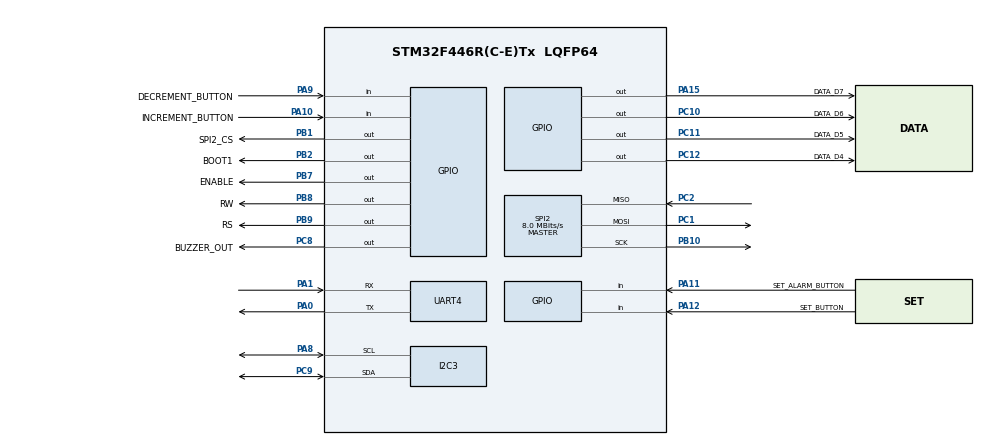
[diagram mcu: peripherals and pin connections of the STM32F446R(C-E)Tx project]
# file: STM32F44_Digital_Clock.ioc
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Mcu.Family=STM32F4
Mcu.Name=STM32F446R(C-E)Tx
Mcu.Package=LQFP64
NVIC.PriorityGroup=NVIC_PRIORITYGROUP_4
NVIC.RTC_Alarm_IRQn=true\:14\:0\:true\:false\:true\:true\:true\:true
NVIC.TIM6_DAC_IRQn=true\:15\:0\:false\:false\:true\:false\:true\:true
NVIC.TimeBase=TIM6_DAC_IRQn
NVIC.TimeBaseIP=TIM6
PA0-WKUP.Mode=Asynchronous
PA0-WKUP.Signal=UART4_TX
PA1.Mode=Asynchronous
PA1.Signal=UART4_RX
PA10.GPIO_Label=INCREMENT_BUTTON
PA10.Signal=GPIO_Input
PA11.GPIO_Label=SET_ALARM_BUTTON
PA11.Signal=GPIO_Input
PA12.GPIO_Label=SET_BUTTON
PA12.Signal=GPIO_Input
PA13.Signal=SYS_JTMS-SWDIO
PA14.Signal=SYS_JTCK-SWCLK
PA15.GPIO_Label=DATA_D7
PA15.Signal=GPIO_Output
PA8.Mode=I2C
PA8.Signal=I2C3_SCL
PA9.GPIO_Label=DECREMENT_BUTTON
PA9.Signal=GPIO_Input
PB1.GPIO_Label=SPI2_CS
PB1.Signal=GPIO_Output
PB10.Mode=Full_Duplex_Master
PB10.Signal=SPI2_SCK
PB2.GPIO_Label=BOOT1
PB2.Signal=GPIO_Output
PB3.Signal=SYS_JTDO-SWO
PB7.GPIO_Label=ENABLE
PB7.Signal=GPIO_Output
PB8.GPIO_Label=RW
PB8.Signal=GPIO_Output
PB9.GPIO_Label=RS
PB9.Signal=GPIO_Output
PC1.Mode=Full_Duplex_Master
PC1.Signal=SPI2_MOSI
PC10.GPIO_Label=DATA_D6
PC10.Signal=GPIO_Output
PC11.GPIO_Label=DATA_D5
PC11.Signal=GPIO_Output
PC12.GPIO_Label=DATA_D4
PC12.Signal=GPIO_Output
PC14-OSC32_IN.Mode=LSE-External-Oscillator
PC14-OSC32_IN.Signal=RCC_OSC32_IN
PC15-OSC32_OUT.Mode=LSE-External-Oscillator
PC15-OSC32_OUT.Signal=RCC_OSC32_OUT
PC2.Mode=Full_Duplex_Master
PC2.Signal=SPI2_MISO
PC8.GPIO_Label=BUZZER_OUT
PC8.Signal=GPIO_Output
PC9.Mode=I2C
PC9.Signal=I2C3_SDA
ProjectManager.HeapSize=0x200
ProjectManager.StackSize=0x400
ProjectManager.TargetToolchain=STM32CubeIDE
RCC.CortexFreq_Value=16000000
RCC.RCC_RTC_Clock_SourceVirtual=RCC_RTCCLKSOURCE_LSE
RCC.USBFreq_Value=96000000
RCC.VCOOutputFreq_Value=192000000
RTC.Alarm=RTC_ALARM_A
RTC.AlarmDateWeekDaySel=RTC_ALARMDATEWEEKDAYSEL_WEEKDAY
RTC.HourFormat=RTC_HOURFORMAT_12
RTC.Minutes=0
RTC.Year=20
SPI2.CalculateBaudRate=8.0 MBits/s
SPI2.Direction=SPI_DIRECTION_2LINES
SPI2.Mode=SPI_MODE_MASTER
SPI2.VirtualType=VM_MASTER
TIM5.Prescaler=16-1
UART4.VirtualMode=Asynchronous
VP_RTC_VS_RTC_Activate.Mode=RTC_Enabled
VP_RTC_VS_RTC_Alarm_A_Intern.Mode=Alarm A
VP_RTC_VS_RTC_Calendar.Mode=RTC_Calendar
VP_SYS_VS_tim6.Mode=TIM6
VP_TIM5_VS_ClockSourceINT.Mode=Internal
board=custom

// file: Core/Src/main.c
/* USER CODE BEGIN Header */
/**
  ******************************************************************************
  * @file           : main.c
  * @brief          : Main program body
  ******************************************************************************
  * @attention
  *
  * <h2><center>&copy; Copyright (c) 2020 STMicroelectronics.
  * All rights reserved.</center></h2>
  *
  * This software component is licensed by ST under BSD 3-Clause license,
  * the "License"; You may not use this file except in compliance with the
  * License. You may obtain a copy of the License at:
  *                        opensource.org/licenses/BSD-3-Clause
  *
  ******************************************************************************
  */
/* USER CODE END Header */
#include "main.h"

/* USER CODE BEGIN Includes */
//#include "Digital_Clock.h"
//#include "RTC.h"
#include "BSP_STM32F44E.h"
#include "../appl/RTC/RTC.h"
#include "../appl/LCD/LCD16.h"
#include "../appl/DIGITALINPUT/DIGITALINPUT.h"
#include "../appl/APPINTF/APPINTF.h"
#include "../appl/CLOCK_MODELE/CLOCK_MODULE.h"

#include "FreeRTOS.h"
#include "task.h"
#include "queue.h"

#include "SchM_DigitalClock.h"

/* USER CODE END Includes */

I2C_HandleTypeDef hi2c3;

//RTC_HandleTypeDef hrtc;

SPI_HandleTypeDef hspi2;

TIM_HandleTypeDef htim5;

UART_HandleTypeDef huart4;

/* USER CODE BEGIN PV */

extern RTC_HandleTypeDef hrtc;
/* USER CODE END PV */

void SystemClock_Config(void);
static void MX_GPIO_Init(void);
static void MX_RTC_Init(void);
static void MX_TIM5_Init(void);
static void MX_UART4_Init(void);
static void MX_I2C3_Init(void);
static void MX_SPI2_Init(void);

int main(void)
{

  /* MCU Configuration--------------------------------------------------------*/

  /* Reset of all peripherals, Initializes the Flash interface and the Systick. */
  HAL_Init();

  /* Configure the system clock */
  SystemClock_Config();

  /* Initialize all configured peripherals */
  MX_GPIO_Init();
  MX_RTC_Init();
  MX_TIM5_Init();
  MX_UART4_Init();
  MX_I2C3_Init();
  MX_SPI2_Init();
  /* USER CODE BEGIN 2 */
  HAL_TIM_Base_Start(&htim5);

  LCD_Config();

  Init_digital_input();
  APPIFEF_Init();
  FSMEF_Clock_Init();

//  SEGGER_SYSVIEW_Conf();

  Task_Generation();
  vTaskStartScheduler();

  /* USER CODE END 2 */

  /* Infinite loop */
  while (1)
  {

  }
}

void SystemClock_Config(void)
{
  RCC_OscInitTypeDef RCC_OscInitStruct = {0};
  RCC_ClkInitTypeDef RCC_ClkInitStruct = {0};

  /** Configure the main internal regulator output voltage
  */
  __HAL_RCC_PWR_CLK_ENABLE();
  __HAL_PWR_VOLTAGESCALING_CONFIG(PWR_REGULATOR_VOLTAGE_SCALE3);

  /** Initializes the RCC Oscillators according to the specified parameters
  * in the RCC_OscInitTypeDef structure.
  */
  RCC_OscInitStruct.OscillatorType = RCC_OSCILLATORTYPE_HSI|RCC_OSCILLATORTYPE_LSE;
  RCC_OscInitStruct.LSEState = RCC_LSE_ON;
  RCC_OscInitStruct.HSIState = RCC_HSI_ON;
  RCC_OscInitStruct.HSICalibrationValue = RCC_HSICALIBRATION_DEFAULT;
  RCC_OscInitStruct.PLL.PLLState = RCC_PLL_NONE;
  if (HAL_RCC_OscConfig(&RCC_OscInitStruct) != HAL_OK)
  {
    Error_Handler();
  }

  /** Initializes the CPU, AHB and APB buses clocks
  */
  RCC_ClkInitStruct.ClockType = RCC_CLOCKTYPE_HCLK|RCC_CLOCKTYPE_SYSCLK
                              |RCC_CLOCKTYPE_PCLK1|RCC_CLOCKTYPE_PCLK2;
  RCC_ClkInitStruct.SYSCLKSource = RCC_SYSCLKSOURCE_HSI;
  RCC_ClkInitStruct.AHBCLKDivider = RCC_SYSCLK_DIV1;
  RCC_ClkInitStruct.APB1CLKDivider = RCC_HCLK_DIV1;
  RCC_ClkInitStruct.APB2CLKDivider = RCC_HCLK_DIV1;

  if (HAL_RCC_ClockConfig(&RCC_ClkInitStruct, FLASH_LATENCY_0) != HAL_OK)
  {
    Error_Handler();
  }
}

static void MX_I2C3_Init(void)
{

  hi2c3.Instance = I2C3;
  hi2c3.Init.ClockSpeed = 100000;
  hi2c3.Init.DutyCycle = I2C_DUTYCYCLE_2;
  hi2c3.Init.OwnAddress1 = 0;
  hi2c3.Init.AddressingMode = I2C_ADDRESSINGMODE_7BIT;
  hi2c3.Init.DualAddressMode = I2C_DUALADDRESS_DISABLE;
  hi2c3.Init.OwnAddress2 = 0;
  hi2c3.Init.GeneralCallMode = I2C_GENERALCALL_DISABLE;
  hi2c3.Init.NoStretchMode = I2C_NOSTRETCH_DISABLE;
  if (HAL_I2C_Init(&hi2c3) != HAL_OK)
  {
    Error_Handler();
  }

}

static void MX_RTC_Init(void)
{

  RTC_TimeTypeDef sTime = {0};
  RTC_DateTypeDef sDate = {0};
  RTC_AlarmTypeDef sAlarm = {0};

  /** Initialize RTC Only
  */
  hrtc.Instance = RTC;
  hrtc.Init.HourFormat = RTC_HOURFORMAT_12;
  hrtc.Init.AsynchPrediv = 127;
  hrtc.Init.SynchPrediv = 255;
  hrtc.Init.OutPut = RTC_OUTPUT_DISABLE;
  hrtc.Init.OutPutPolarity = RTC_OUTPUT_POLARITY_HIGH;
  hrtc.Init.OutPutType = RTC_OUTPUT_TYPE_OPENDRAIN;
  if (HAL_RTC_Init(&hrtc) != HAL_OK)
  {
    Error_Handler();
  }

  /** Initialize RTC and set the Time and Date
  */
  sTime.Hours = 10u;
  sTime.Minutes = 25u;
  sTime.Seconds = 0x0;
  sTime.TimeFormat = RTC_HOURFORMAT12_PM;
  sTime.DayLightSaving = RTC_DAYLIGHTSAVING_NONE;
  sTime.StoreOperation = RTC_STOREOPERATION_RESET;
  if (HAL_RTC_SetTime(&hrtc, &sTime, RTC_FORMAT_BIN) != HAL_OK)
  {
    Error_Handler();
  }
  sDate.WeekDay = RTC_WEEKDAY_SATURDAY;
  sDate.Month = RTC_MONTH_JANUARY;
  sDate.Date = 4u;
  sDate.Year = 25;

  if (HAL_RTC_SetDate(&hrtc, &sDate, RTC_FORMAT_BIN) != HAL_OK)
  {
    Error_Handler();
  }

  /** Enable the Alarm A
  */
  sAlarm.AlarmTime.Hours = 11u;
  sAlarm.AlarmTime.Minutes = 59;
  sAlarm.AlarmTime.Seconds = 0x0;
  sAlarm.AlarmTime.SubSeconds = 0x0;
  sAlarm.AlarmTime.TimeFormat = RTC_HOURFORMAT12_PM;
  sAlarm.AlarmTime.DayLightSaving = RTC_DAYLIGHTSAVING_NONE;
  sAlarm.AlarmTime.StoreOperation = RTC_STOREOPERATION_RESET;
  sAlarm.AlarmMask = RTC_ALARMMASK_HOURS || RTC_ALARMMASK_MINUTES;
  sAlarm.AlarmSubSecondMask = RTC_ALARMSUBSECONDMASK_ALL;
  sAlarm.AlarmDateWeekDaySel = RTC_ALARMDATEWEEKDAYSEL_WEEKDAY;
  sAlarm.AlarmDateWeekDay = RTC_WEEKDAY_SUNDAY;
  sAlarm.Alarm = RTC_ALARM_A;
  if (HAL_RTC_SetAlarm_IT(&hrtc, &sAlarm, RTC_FORMAT_BIN) != HAL_OK)
  {
    Error_Handler();
  }

}

static void MX_SPI2_Init(void)
{

  /* SPI2 parameter configuration*/
  hspi2.Instance = SPI2;
  hspi2.Init.Mode = SPI_MODE_MASTER;
  hspi2.Init.Direction = SPI_DIRECTION_2LINES;
  hspi2.Init.DataSize = SPI_DATASIZE_8BIT;
  hspi2.Init.CLKPolarity = SPI_POLARITY_LOW;
  hspi2.Init.CLKPhase = SPI_PHASE_1EDGE;
  hspi2.Init.NSS = SPI_NSS_SOFT;
  hspi2.Init.BaudRatePrescaler = SPI_BAUDRATEPRESCALER_2;
  hspi2.Init.FirstBit = SPI_FIRSTBIT_MSB;
  hspi2.Init.TIMode = SPI_TIMODE_DISABLE;
  hspi2.Init.CRCCalculation = SPI_CRCCALCULATION_DISABLE;
  hspi2.Init.CRCPolynomial = 10;
  if (HAL_SPI_Init(&hspi2) != HAL_OK)
  {
    Error_Handler();
  }

}

static void MX_TIM5_Init(void)
{

  TIM_ClockConfigTypeDef sClockSourceConfig = {0};
  TIM_MasterConfigTypeDef sMasterConfig = {0};

  htim5.Instance = TIM5;
  htim5.Init.Prescaler = 16-1;
  htim5.Init.CounterMode = TIM_COUNTERMODE_UP;
  htim5.Init.Period = 4294967295;
  htim5.Init.ClockDivision = TIM_CLOCKDIVISION_DIV1;
  htim5.Init.AutoReloadPreload = TIM_AUTORELOAD_PRELOAD_DISABLE;
  if (HAL_TIM_Base_Init(&htim5) != HAL_OK)
  {
    Error_Handler();
  }
  sClockSourceConfig.ClockSource = TIM_CLOCKSOURCE_INTERNAL;
  if (HAL_TIM_ConfigClockSource(&htim5, &sClockSourceConfig) != HAL_OK)
  {
    Error_Handler();
  }
  sMasterConfig.MasterOutputTrigger = TIM_TRGO_RESET;
  sMasterConfig.MasterSlaveMode = TIM_MASTERSLAVEMODE_DISABLE;
  if (HAL_TIMEx_MasterConfigSynchronization(&htim5, &sMasterConfig) != HAL_OK)
  {
    Error_Handler();
  }

}

static void MX_UART4_Init(void)
{

  huart4.Instance = UART4;
  huart4.Init.BaudRate = 115200;
  huart4.Init.WordLength = UART_WORDLENGTH_8B;
  huart4.Init.StopBits = UART_STOPBITS_1;
  huart4.Init.Parity = UART_PARITY_NONE;
  huart4.Init.Mode = UART_MODE_TX_RX;
  huart4.Init.HwFlowCtl = UART_HWCONTROL_NONE;
  huart4.Init.OverSampling = UART_OVERSAMPLING_16;
  if (HAL_UART_Init(&huart4) != HAL_OK)
  {
    Error_Handler();
  }

}

static void MX_GPIO_Init(void)
{
  GPIO_InitTypeDef GPIO_InitStruct = {0};

  /* GPIO Ports Clock Enable */
  __HAL_RCC_GPIOC_CLK_ENABLE();
  __HAL_RCC_GPIOA_CLK_ENABLE();
  __HAL_RCC_GPIOB_CLK_ENABLE();

  /*Configure GPIO pin Output Level */
  HAL_GPIO_WritePin(GPIOB, SPI2_CS_Pin|BOOT1_Pin|ENABLE_Pin|RW_Pin
                          |RS_Pin, GPIO_PIN_RESET);

  /*Configure GPIO pin Output Level */
  HAL_GPIO_WritePin(GPIOC, BUZZER_OUT_Pin|DATA_D6_Pin|DATA_D5_Pin|DATA_D4_Pin, GPIO_PIN_RESET);

  /*Configure GPIO pin Output Level */
  HAL_GPIO_WritePin(DATA_D7_GPIO_Port, DATA_D7_Pin, GPIO_PIN_RESET);

  /*Configure GPIO pins : SPI2_CS_Pin BOOT1_Pin ENABLE_Pin RW_Pin
                           RS_Pin */
  GPIO_InitStruct.Pin = SPI2_CS_Pin|BOOT1_Pin|ENABLE_Pin|RW_Pin
                          |RS_Pin;
  GPIO_InitStruct.Mode = GPIO_MODE_OUTPUT_PP;
  GPIO_InitStruct.Pull = GPIO_NOPULL;
  GPIO_InitStruct.Speed = GPIO_SPEED_FREQ_LOW;
  HAL_GPIO_Init(GPIOB, &GPIO_InitStruct);

  /*Configure GPIO pins : BUZZER_OUT_Pin DATA_D6_Pin DATA_D5_Pin DATA_D4_Pin */
  GPIO_InitStruct.Pin = BUZZER_OUT_Pin|DATA_D6_Pin|DATA_D5_Pin|DATA_D4_Pin;
  GPIO_InitStruct.Mode = GPIO_MODE_OUTPUT_PP;
  GPIO_InitStruct.Pull = GPIO_NOPULL;
  GPIO_InitStruct.Speed = GPIO_SPEED_FREQ_LOW;
  HAL_GPIO_Init(GPIOC, &GPIO_InitStruct);

  /*Configure GPIO pins : DECREMENT_BUTTON_Pin INCREMENT_BUTTON_Pin SET_ALARM_BUTTON_Pin SET_BUTTON_Pin */
  GPIO_InitStruct.Pin = DECREMENT_BUTTON_Pin|INCREMENT_BUTTON_Pin|SET_ALARM_BUTTON_Pin|SET_BUTTON_Pin;
  GPIO_InitStruct.Mode = GPIO_MODE_INPUT;
  GPIO_InitStruct.Pull = GPIO_NOPULL;
  HAL_GPIO_Init(GPIOA, &GPIO_InitStruct);

  /*Configure GPIO pin : DATA_D7_Pin */
  GPIO_InitStruct.Pin = DATA_D7_Pin;
  GPIO_InitStruct.Mode = GPIO_MODE_OUTPUT_PP;
  GPIO_InitStruct.Pull = GPIO_NOPULL;
  GPIO_InitStruct.Speed = GPIO_SPEED_FREQ_LOW;
  HAL_GPIO_Init(DATA_D7_GPIO_Port, &GPIO_InitStruct);

}

/* USER CODE BEGIN 4 */

//void HAL_RTC_AlarmAEventCallback(RTC_HandleTypeDef *hrtc)
//{
//
//}

/* USER CODE END 4 */

void HAL_TIM_PeriodElapsedCallback(TIM_HandleTypeDef *htim)
{
  if (htim->Instance == TIM6) {
    HAL_IncTick();
  }
}

void Error_Handler(void)
{
}
